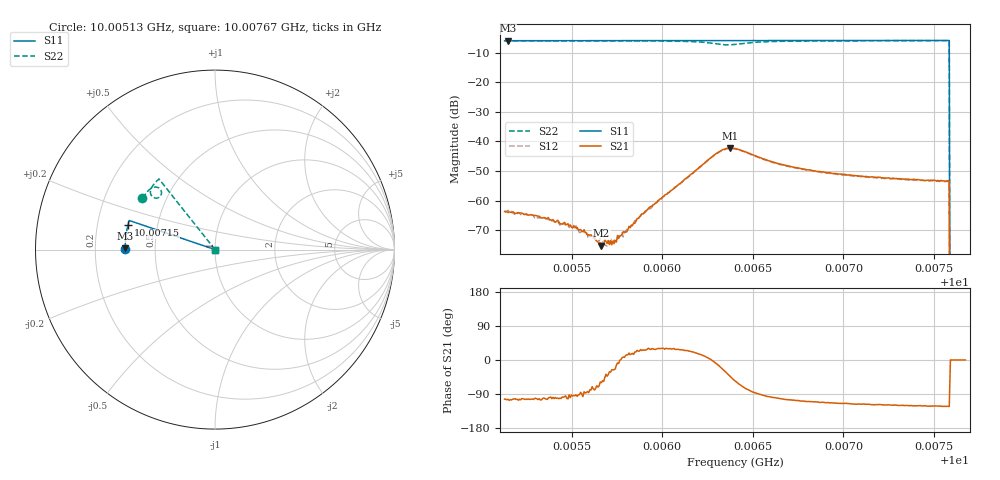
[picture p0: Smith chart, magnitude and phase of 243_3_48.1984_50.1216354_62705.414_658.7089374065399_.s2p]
#  HZ  S  RI  R  50.00
! Rohde & Schwarz Vector Network Analyzer
! Rohde-Schwarz,ZNB20-2Port,1311601062101988,3.16
! Created: UTC 3/20/2024, 11:46:57 AM
! freq[Hz]  re:S11  im:S11  re:S21  im:S21  re:S12  im:S12  re:S22  im:S22
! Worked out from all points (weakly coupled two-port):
!   401 points, 10.00513 GHz to 10.00767 GHz, reference 50 ohm
!   highest |S21| = -42.22 dB at 10.00638 GHz (marker M1); lowest = -75.1 dB at 10.00566 GHz (marker M2)
!   lowest |S11| = -6.0 dB at 10.00515 GHz (marker M3), VSWR 3.00, Z = 16.7 + j0.324 ohm
!   |S11| at or under -10 dB: 10.00758 GHz to end of sweep
!   |S22| runs from - to -6.0 dB; largest |S21 - S12| = 0.00046
!   S11 on the Smith chart (normalised r, x): 10.00513 GHz: 0.33, +0.01; 10.00715 GHz: 0.34, +0.12; 10.00767 GHz: 1.00, +0.00
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1.0005131e10  -0.5 0.00612  -0.000152 -0.000639  -0.000151 -0.000638  -0.4044 0.2858
1.000515e10  -0.4999 0.00728  -0.000147 -0.000615  -0.000143 -0.000676  -0.4037 0.2868
1.000536e10  -0.5 0.021  -0.000115 -0.000485  -7.98e-05 -0.000486  -0.3954 0.2994
1.0005512e10  -0.4996 0.0309  -2.25e-05 -0.000373  2.05e-05 -0.000383  -0.3888 0.3083
1.0005557e10  -0.4996 0.0338  1.67e-06 -0.000311  -2.02e-06 -0.000309  -0.3867 0.3111
1.0005614e10  -0.4994 0.0375  8.53e-05 -0.00024  8.44e-05 -0.000216  -0.3839 0.3146
1.0005665e10  -0.4994 0.0409  8.82e-05 -0.000152  0.000103 -0.000152  -0.3814 0.3179
1.0005696e10  -0.4992 0.043  0.000139 -0.00013  0.000136 -0.000104  -0.3797 0.3196
1.0005735e10  -0.4991 0.0455  0.00017 -8.18e-05  0.000208 -6.03e-05  -0.3774 0.3221
1.0005874e10  -0.4983 0.0544  0.000487 0.000212  0.00048 0.000232  -0.3685 0.3313
1.0005982e10  -0.4979 0.0615  0.000885 0.000522  0.000865 0.000539  -0.3598 0.3386
1.0006281e10  -0.4953 0.0807  0.00572 -0.00027  0.0056 -4.18e-05  -0.3035 0.3344
1.0006332e10  -0.4947 0.0836  0.00664 -0.00284  0.00658 -0.00246  -0.2985 0.3107
1.0006376e10  -0.4942 0.0862  0.00555 -0.00539  0.0057 -0.00496  -0.3123 0.2911
1.0006402e10  -0.4942 0.0877  0.00436 -0.00625  0.00456 -0.00592  -0.3246 0.2869
1.0006624e10  -0.4925 0.1019  -0.00073 -0.00433  -0.000571 -0.00427  -0.3593 0.3271
1.0006828e10  -0.49 0.1149  -0.00108 -0.00303  -0.000985 -0.00302  -0.3507 0.3495
1.0007152e10  -0.4855 0.1354  -0.00118 -0.00223  -0.00102 -0.00225  -0.3341 0.3714
1.0007253e10  -0.484 0.1418  -0.00115 -0.00212  -0.00103 -0.00213  -0.329 0.3771
1.0007571e10  -0.4784 0.1615  -0.00117 -0.00184  -0.00104 -0.00183  -0.3128 0.3929
1.0007603e10  0 0  0 0  0 0  0 0
1.0007673e10  0 0  0 0  0 0  0 0
